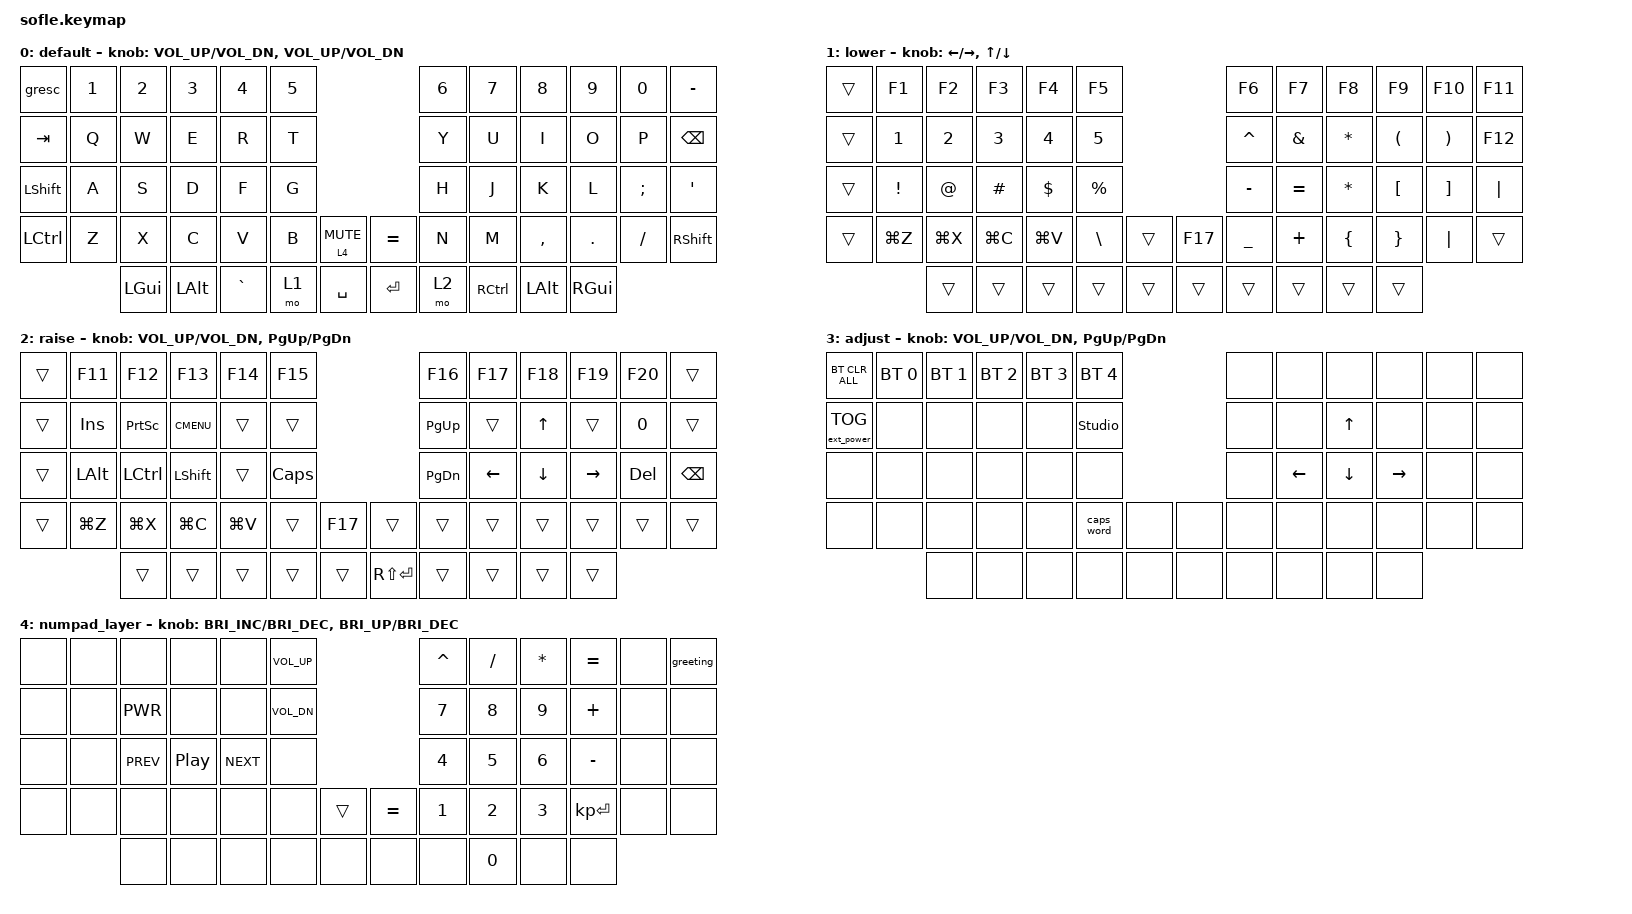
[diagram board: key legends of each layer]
/*
 * Copyright (c) 2020 The ZMK Contributors
 *
 * SPDX-License-Identifier: MIT
 */

#include <behaviors.dtsi>
#include <dt-bindings/zmk/bt.h>
#include <dt-bindings/zmk/ext_power.h>
#include <dt-bindings/zmk/keys.h>

#define BASE 0
#define LOWER 1
#define RAISE 2
#define ADJUST 3

/ {
    // Activate ADJUST layer by pressing raise and lower

    conditional_layers {
        compatible = "zmk,conditional-layers";

        adjust_layer {
            if-layers = <1 2>;
            then-layer = <3>;
        };
    };

    combos {
        compatible = "zmk,combos";

        backspace {
            bindings = <&kp BACKSPACE>;
            key-positions = <32 31>;
        };

        delete {
            bindings = <&kp DELETE>;
            key-positions = <27 28>;
        };

        esc {
            bindings = <&kp ESCAPE>;
            key-positions = <25 41>;
        };

        enter {
            bindings = <&kp RET>;
            key-positions = <19 20>;
        };
    };

    macros {
        greeting: greeting {
            compatible = "zmk,behavior-macro";
            #binding-cells = <0>;
            bindings = <&none &kp LS(H) &kp E &kp Y &kp O &kp COMMA &kp SPACE &kp COLON &kp J &kp P &kp W &kp A &kp V &kp E &kp RET &kp RET &kp LS(Q) &kp U &kp I &kp C &kp K &kp SPACE &kp Q &kp U &kp E &kp S &kp T &kp I &kp O &kp N &kp COMMA &kp SPACE>;
            label = "GREETING";
        };
    };

    keymap {
        compatible = "zmk,keymap";

        // swap C_MUTE & EQUAL for encoder on the right

        default_layer {
            display-name = "default";

            // ------------------------------------------------------------------------------------------------------------
            // |   `   |  1  |  2  |  3   |  4   |  5   |                   |  6   |  7    |  8    |  9   |   0   |       |
            // |  ESC  |  Q  |  W  |  E   |  R   |  T   |                   |  Y   |  U    |  I    |  O   |   P   | BKSPC |
            // |  TAB  |  A  |  S  |  D   |  F   |  G   |                   |  H   |  J    |  K    |  L   |   ;   |   '   |
            // | SHIFT |  Z  |  X  |  C   |  V   |  B   |  MUTE  |  |       |  N   |  M    |  ,    |  .   |   /   | SHIFT |
            //               | GUI | ALT  | CTRL | LOWER|  ENTER |  | SPACE | RAISE| CTRL  | ALT   | GUI  |

            bindings = <
&gresc            &kp N1  &kp N2    &kp N3    &kp N4     &kp N5                             &kp N6  &kp N7     &kp N8     &kp N9    &kp N0    &kp MINUS
&kp TAB           &kp Q   &kp W     &kp E     &kp R      &kp T                              &kp Y   &kp U      &kp I      &kp O     &kp P     &kp BSPC
&kp LEFT_SHIFT    &kp A   &kp S     &kp D     &kp F      &kp G                              &kp H   &kp J      &kp K      &kp L     &kp SEMI  &kp SQT
&kp LEFT_CONTROL  &kp Z   &kp X     &kp C     &kp V      &kp B   &lt 4 K_MUTE    &kp EQUAL  &kp N   &kp M      &kp COMMA  &kp DOT   &kp FSLH  &kp RSHFT
                          &kp LGUI  &kp LALT  &kp GRAVE  &mo 1   &kp SPACE       &kp ENTER  &mo 2   &kp RCTRL  &kp LALT   &kp RGUI
            >;

            sensor-bindings = <&inc_dec_kp C_VOL_UP C_VOL_DN &inc_dec_kp C_VOL_UP C_VOL_DN>;
        };

        lower_layer {
            display-name = "lower";

            // TODO: Some binds are waiting for shifted keycode support.
            // ------------------------------------------------------------------------------------------------------------
            // |       |  F1 |  F2 |  F3  |  F4  |  F5  |                   |  F6  |  F7   |  F8   |  F9  |  F10  |  F11  |
            // |   `   |  1  |  2  |  3   |  4   |  5   |                   |  6   |  7    |  8    |  9   |   0   |  F12  |
            // |       |  !  |  @  |  #   |  $   |  %   |                   |  ^   |  &    |  *    |  (   |   )   |   |   |
            // |       |  =  |  -  |  +   |  {   |  }   |        |  |       |  [   |  ]    |  ;    |  :   |   \   |       |
            //               |     |      |      |      |        |  |       |      |       |       |      |

            bindings = <
&trans  &kp F1     &kp F2     &kp F3     &kp F4     &kp F5                            &kp F6          &kp F7         &kp F8          &kp F9                &kp F10                &kp F11
&trans  &kp N1     &kp N2     &kp N3     &kp N4     &kp N5                            &kp CARET       &kp AMPERSAND  &kp ASTRK       &kp LEFT_PARENTHESIS  &kp RIGHT_PARENTHESIS  &kp F12
&trans  &kp EXCL   &kp AT     &kp HASH   &kp DLLR   &kp PRCNT                         &kp MINUS       &kp EQUAL      &kp ASTRK       &kp LEFT_BRACKET      &kp RIGHT_BRACKET      &kp PIPE
&trans  &kp LG(Z)  &kp LG(X)  &kp LG(C)  &kp LG(V)  &kp BACKSLASH  &trans    &kp F17  &kp UNDERSCORE  &kp PLUS       &kp LEFT_BRACE  &kp RIGHT_BRACE       &kp PIPE               &trans
                   &trans     &trans     &trans     &trans         &trans    &trans   &trans          &trans         &trans          &trans
            >;

            sensor-bindings =
                <&inc_dec_kp LEFT_ARROW RIGHT_ARROW>,
                <&inc_dec_kp UP_ARROW DOWN_ARROW>;
        };

        raise_layer {
            display-name = "raise";

            // ------------------------------------------------------------------------------------------------------------
            // | BTCLR | BT1  | BT2  |  BT3  |  BT4  |  BT5 |                |      |      |       |      |       |       |
            // |       | INS  | PSCR | GUI   |       |      |                | PGUP |      |   ^   |      |       |       |
            // |       | ALT  | CTRL | SHIFT |       | CAPS |                | PGDN |   <- |   v   |  ->  |  DEL  | BKSPC |
            // |       | UNDO | CUT  | COPY  | PASTE |      |      |  |      |      |      |       |      |       |       |
            //                |      |       |       |      |      |  |      |      |      |       |      |

            bindings = <
&trans  &kp F11    &kp F12    &kp F13      &kp F14    &kp F15                             &kp F16    &kp F17   &kp F18   &kp F19    &kp F20  &trans
&trans  &kp INS    &kp PSCRN  &kp K_CMENU  &trans     &trans                              &kp PG_UP  &trans    &kp UP    &trans     &kp N0   &trans
&trans  &kp LALT   &kp LCTRL  &kp LSHFT    &trans     &kp CLCK                            &kp PG_DN  &kp LEFT  &kp DOWN  &kp RIGHT  &kp DEL  &kp BSPC
&trans  &kp LG(Z)  &kp LG(X)  &kp LG(C)    &kp LG(V)  &trans    &kp F17    &trans         &trans     &trans    &trans    &trans     &trans   &trans
                   &trans     &trans       &trans     &trans    &trans     &kp RS(ENTER)  &trans     &trans    &trans    &trans
            >;

            sensor-bindings = <&inc_dec_kp C_VOL_UP C_VOL_DN &inc_dec_kp PG_UP PG_DN>;
        };

        adjust_layer {
            // ----------------------------------------------------------------------------------------------------------------------------
            // | BTCLR  |  BT1    |  BT2    |   BT3   |   BT4   |   BT5   |                  |      |      |       |      |       |       |
            // | EXTPWR | RGB_HUD | RGB_HUI | RGB_SAD | RGB_SAI | RGB_EFF |                  |      |      |       |      |       |       |
            // |        | RGB_BRD | RGB_BRI |         |         |         |                  |      |      |       |      |       |       |
            // |        |         |         |         |         |         | RGB_TOG | |      |      |      |       |      |       |       |
            //                    |         |         |         |         |         | |      |      |      |       |      |

            display-name = "adjust";
            bindings = <
&bt BT_CLR_ALL     &bt BT_SEL 0  &bt BT_SEL 1  &bt BT_SEL 2  &bt BT_SEL 3  &bt BT_SEL 4                    &none  &none           &none           &none            &none  &none
&ext_power EP_TOG  &none         &none         &none         &none         &studio_unlock                  &none  &none           &kp UP_ARROW    &none            &none  &none
&none              &none         &none         &none         &none         &none                           &none  &kp LEFT_ARROW  &kp DOWN_ARROW  &kp RIGHT_ARROW  &none  &none
&none              &none         &none         &none         &none         &caps_word      &none    &none  &none  &none           &none           &none            &none  &none
                                 &none         &none         &none         &none           &none    &none  &none  &none           &none           &none
            >;

            sensor-bindings = <&inc_dec_kp C_VOL_UP C_VOL_DN &inc_dec_kp PG_UP PG_DN>;
        };

        numpad_layer {
            bindings = <
&none  &none  &none       &none     &none       &kp C_VOL_UP                       &kp CARET  &kp SLASH  &kp ASTERISK  &kp EQUAL     &none  &greeting
&none  &none  &kp C_PWR   &none     &none       &kp C_VOL_DN                       &kp N7     &kp N8     &kp N9        &kp PLUS      &none  &none
&none  &none  &kp C_PREV  &kp C_PP  &kp C_NEXT  &none                              &kp N4     &kp N5     &kp N6        &kp MINUS     &none  &none
&none  &none  &none       &none     &none       &none         &trans    &kp EQUAL  &kp N1     &kp N2     &kp N3        &kp KP_ENTER  &none  &none
              &none       &none     &none       &none         &none     &none      &none      &kp N0     &none         &none
            >;

            sensor-bindings =
                <&inc_dec_kp C_BRIGHTNESS_INC C_BRIGHTNESS_DEC>,
                <&inc_dec_kp C_BRI_UP C_BRIGHTNESS_DEC>;
        };
    };
};
